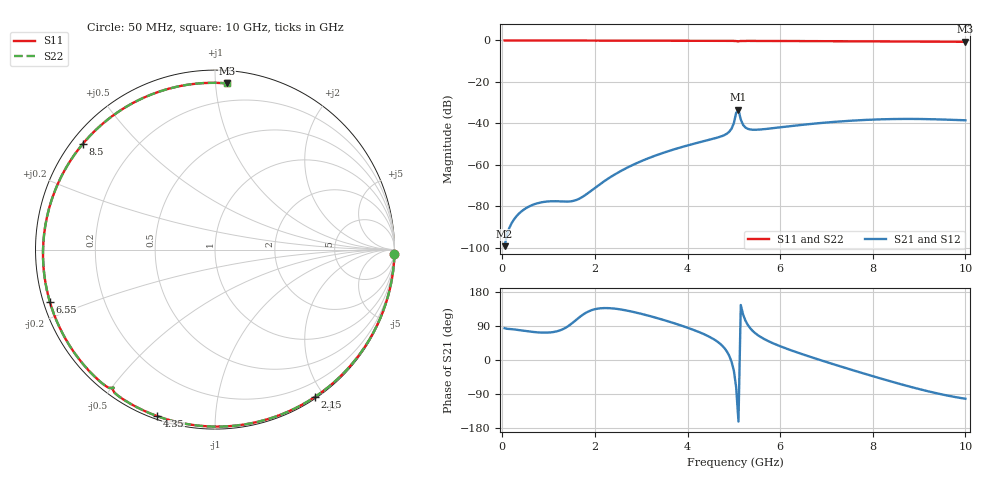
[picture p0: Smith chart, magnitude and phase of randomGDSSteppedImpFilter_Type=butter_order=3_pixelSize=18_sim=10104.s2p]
! freq	dB(S11)	phase(S11)	dB(S12)	phase(S12)
!  dB(S21)	phase(S21)	dB(S22)	phase(S22)
!S-par simulation data
#  GHz  S  DB  R 50
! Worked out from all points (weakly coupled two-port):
!   200 points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, 50 MHz to 10 GHz, reference 50 ohm
!   highest |S21| = -33.41 dB at 5.1 GHz (marker M1); lowest = -99.1 dB at 50 MHz (marker M2)
!   lowest |S11| = -0.6 dB at 10 GHz (marker M3), VSWR 26.95, Z = 4 + j53.6 ohm
!   |S11| at or under -10 dB: nowhere
!   |S22| runs from -0.6 to 0.0 dB; largest |S21 - S12| = 0
!   S11 on the Smith chart (normalised r, x): 50 MHz: 0, -86; 2.15 GHz: 0.02, -1.89; 4.35 GHz: 0.01, -0.71; 6.55 GHz: 0.02, -0.15; 8.5 GHz: 0.03, +0.35; 10 GHz: 0.08, +1.07
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0.05  -0.00 -1.3  -99.12 83.9  -99.12 83.9  -0.00 -1.3
0.75  -0.02 -19.8  -78.50 73.1  -78.50 73.1  -0.02 -19.8
1.5  -0.05 -39.2  -77.45 96.3  -77.45 96.3  -0.05 -39.2
1.75  -0.06 -45.6  -75.12 120.4  -75.12 120.4  -0.06 -45.6
2.15  -0.07 -55.7  -68.61 136.8  -68.61 136.8  -0.07 -55.7
2.7  -0.09 -69.4  -61.26 130.2  -61.26 130.2  -0.09 -69.4
3.4  -0.11 -86.5  -54.72 108.6  -54.72 108.6  -0.11 -86.5
4.35  -0.16 -109.2  -48.55 68.4  -48.55 68.4  -0.16 -109.2
4.9  -0.19 -122.5  -44.01 11.3  -44.01 11.3  -0.19 -122.5
5  -0.23 -125.2  -39.84 -27.8  -39.84 -27.8  -0.23 -125.2
5.05  -0.34 -126.6  -34.90 -72.0  -34.90 -72.0  -0.34 -126.6
5.1  -0.41 -126.2  -33.41 -162.4  -33.41 -162.4  -0.41 -126.2
5.15  -0.26 -127.4  -38.11 145.1  -38.11 145.1  -0.26 -127.4
5.2  -0.23 -128.8  -40.70 120.0  -40.70 120.0  -0.23 -128.8
5.35  -0.22 -132.7  -42.87 84.3  -42.87 84.3  -0.22 -132.7
6.55  -0.31 -162.5  -40.48 12.4  -40.48 12.4  -0.31 -162.5
6.7  -0.32 -166.4  -40.15 6.4  -40.15 6.4  -0.32 -166.4
7.55  -0.41 170.4  -38.64 -26.2  -38.64 -26.2  -0.41 170.5
8.35  -0.49 146.2  -37.90 -55.1  -37.90 -55.1  -0.49 146.2
8.5  -0.51 141.3  -37.84 -60.3  -37.84 -60.3  -0.51 141.3
9.3  -0.59 113.2  -37.96 -85.6  -37.96 -85.6  -0.59 113.2
10  -0.64 85.8  -38.46 -102.3  -38.46 -102.3  -0.64 85.8
